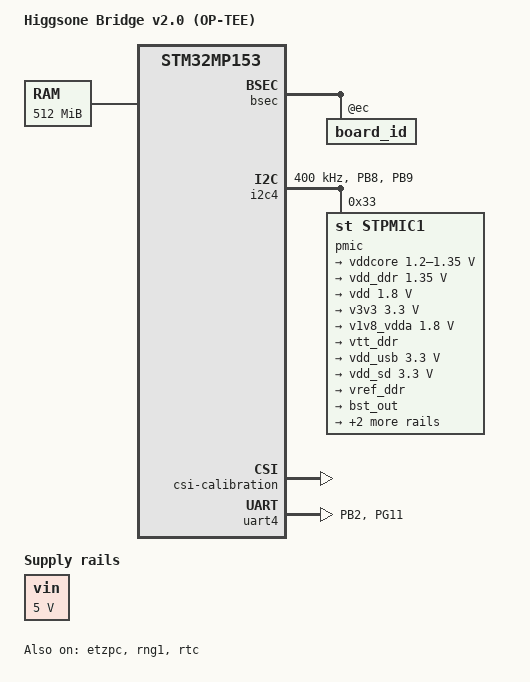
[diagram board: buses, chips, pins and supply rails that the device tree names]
/* SPDX-License-Identifier: (GPL-2.0+ OR BSD-3-Clause) */
/*
 * Copyright (C) STMicroelectronics 2022 - All Rights Reserved
 * Author: STM32CubeMX code generation for STMicroelectronics.
 */

/* For more information on Device Tree configuration, please refer to
 * https://wiki.st.com/stm32mpu/wiki/Category:Device_tree_configuration
 */

/dts-v1/;
#include <dt-bindings/pinctrl/stm32-pinfunc.h>
#include <dt-bindings/clock/stm32mp1-clksrc.h>
#include <dt-bindings/soc/stm32mp15-etzpc.h>

#include "stm32mp153.dtsi"
#include "stm32mp15xd.dtsi"
#include "stm32mp15xxab-pinctrl.dtsi"

/* USER CODE BEGIN includes */
#include <dt-bindings/power/stm32mp1-power.h>
/* USER CODE END includes */

/ {
        model = "Higgsone Bridge v2.0 (OP-TEE)";
        compatible = "st,stm32mp153d-bridge-cubemx-mx", "st,stm32mp153";

        memory@c0000000 {
                device_type = "memory";
                reg = <0xc0000000 0x20000000>;

                /* USER CODE BEGIN memory */
                /* USER CODE END memory */
        };

        /* USER CODE BEGIN root */
        vin: vin {
                compatible = "regulator-fixed";
                regulator-name = "vin";
                regulator-min-microvolt = <5000000>;
                regulator-max-microvolt = <5000000>;
                regulator-always-on;
        };

        aliases {
                serial0 = &uart4;
        };

        chosen {
                stdout-path = "serial0:115200n8";
        };
        /* USER CODE END root */

        clocks {
                /* USER CODE BEGIN clocks */
                /* USER CODE END clocks */

                clk_lse: clk-lse {
                        st,digbypass;

                        /* USER CODE BEGIN clk_lse */
                        /* USER CODE END clk_lse */
                };

                clk_hse: clk-hse {
                        st,bypass;

                        /* USER CODE BEGIN clk_hse */
                        /* USER CODE END clk_hse */
                };
        };

}; /*root*/

&clk_hse {
        st,bypass;
};

&clk_lse {
        st,digbypass;
};

&pinctrl {
        i2c4_pins_mx: i2c4_mx-0 {
                pins {
                        pinmux = <STM32_PINMUX('B', 8, AF6)>, /* I2C4_SCL */
                                         <STM32_PINMUX('B', 9, AF6)>; /* I2C4_SDA */
                        bias-disable;
                        drive-open-drain;
                        slew-rate = <0>;
                };
        };

        sdmmc1_pins_mx: sdmmc1_mx-0 {
                pins1 {
                        pinmux = <STM32_PINMUX('C', 8, AF12)>, /* SDMMC1_D0 */
                                         <STM32_PINMUX('C', 9, AF12)>, /* SDMMC1_D1 */
                                         <STM32_PINMUX('C', 11, AF12)>, /* SDMMC1_D3 */
                                         <STM32_PINMUX('D', 2, AF12)>, /* SDMMC1_CMD */
                                         <STM32_PINMUX('E', 6, AF8)>; /* SDMMC1_D2 */
                        bias-disable;
                        drive-push-pull;
                        slew-rate = <1>;
                };
                pins2 {
                        pinmux = <STM32_PINMUX('C', 12, AF12)>; /* SDMMC1_CK */
                        bias-disable;
                        drive-push-pull;
                        slew-rate = <3>;
                };
                pins3 {
                        pinmux = <STM32_PINMUX('E', 4, AF8)>; /* SDMMC1_CKIN */
                        bias-disable;
                };
        };

        sdmmc2_pins_mx: sdmmc2_mx-0 {
                pins1 {
                        pinmux = <STM32_PINMUX('A', 8, AF9)>, /* SDMMC2_D4 */
                                         <STM32_PINMUX('A', 9, AF10)>, /* SDMMC2_D5 */
                                         <STM32_PINMUX('B', 3, AF9)>, /* SDMMC2_D2 */
                                         <STM32_PINMUX('B', 4, AF9)>, /* SDMMC2_D3 */
                                         <STM32_PINMUX('B', 14, AF9)>, /* SDMMC2_D0 */
                                         <STM32_PINMUX('B', 15, AF9)>, /* SDMMC2_D1 */
                                         <STM32_PINMUX('C', 7, AF10)>, /* SDMMC2_D7 */
                                         <STM32_PINMUX('E', 5, AF9)>, /* SDMMC2_D6 */
                                         <STM32_PINMUX('G', 6, AF10)>; /* SDMMC2_CMD */
                        bias-disable;
                        drive-push-pull;
                        slew-rate = <1>;
                };
                pins2 {
                        pinmux = <STM32_PINMUX('E', 3, AF9)>; /* SDMMC2_CK */
                        bias-disable;
                        drive-push-pull;
                        slew-rate = <3>;
                };
        };

        uart4_pins_mx: uart4_mx-0 {
                pins1 {
                        pinmux = <STM32_PINMUX('B', 2, AF8)>; /* UART4_RX */
                        bias-disable;
                };
                pins2 {
                        pinmux = <STM32_PINMUX('G', 11, AF6)>; /* UART4_TX */
                        bias-disable;
                        drive-push-pull;
                        slew-rate = <0>;
                };
        };

        /* USER CODE BEGIN pinctrl */
        /* USER CODE END pinctrl */
};

&bsec{
        status = "okay";

        /* USER CODE BEGIN bsec */
        board_id: board_id@ec {
                reg = <0xec 0x4>;
                st,non-secure-otp;
        };
        /* USER CODE END bsec */
};

&etzpc{
        status = "okay";
        st,decprot = <
        /*"NS_R S_W" peripherals*/
        DECPROT(STM32MP1_ETZPC_DDRCTRL_ID, DECPROT_NS_R_S_W, DECPROT_LOCK)
        DECPROT(STM32MP1_ETZPC_DDRPHYC_ID, DECPROT_NS_R_S_W, DECPROT_LOCK)
        /*"Non Secured" peripherals*/
        DECPROT(STM32MP1_ETZPC_DMA1_ID, DECPROT_NS_RW, DECPROT_UNLOCK)
        DECPROT(STM32MP1_ETZPC_DMAMUX_ID, DECPROT_NS_RW, DECPROT_UNLOCK)
        DECPROT(STM32MP1_ETZPC_HASH1_ID, DECPROT_NS_RW, DECPROT_UNLOCK)
        DECPROT(STM32MP1_ETZPC_I2C1_ID, DECPROT_NS_RW, DECPROT_UNLOCK)
        DECPROT(STM32MP1_ETZPC_I2C4_ID, DECPROT_NS_RW, DECPROT_UNLOCK)
        DECPROT(STM32MP1_ETZPC_SDMMC3_ID, DECPROT_NS_RW, DECPROT_UNLOCK)
        DECPROT(STM32MP1_ETZPC_DLYBSD3_ID, DECPROT_NS_RW, DECPROT_UNLOCK)
        DECPROT(STM32MP1_ETZPC_UART4_ID, DECPROT_NS_RW, DECPROT_UNLOCK)
        DECPROT(STM32MP1_ETZPC_UART5_ID, DECPROT_NS_RW, DECPROT_UNLOCK)
        DECPROT(STM32MP1_ETZPC_UART7_ID, DECPROT_NS_RW, DECPROT_UNLOCK)
        DECPROT(STM32MP1_ETZPC_USART3_ID, DECPROT_NS_RW, DECPROT_UNLOCK)
        DECPROT(STM32MP1_ETZPC_OTG_ID, DECPROT_NS_RW, DECPROT_UNLOCK)
        /*"Secured" peripherals*/
        DECPROT(STM32MP1_ETZPC_STGENC_ID, DECPROT_S_RW, DECPROT_UNLOCK)
        DECPROT(STM32MP1_ETZPC_RNG1_ID, DECPROT_S_RW, DECPROT_UNLOCK)
        /*"Mcu Isolation" peripherals*/
        DECPROT(STM32MP1_ETZPC_DMA2_ID, DECPROT_MCU_ISOLATION, DECPROT_UNLOCK)
        DECPROT(STM32MP1_ETZPC_SPI1_ID, DECPROT_MCU_ISOLATION, DECPROT_UNLOCK)
        DECPROT(STM32MP1_ETZPC_SPI2_ID, DECPROT_MCU_ISOLATION, DECPROT_UNLOCK)
        DECPROT(STM32MP1_ETZPC_USART2_ID, DECPROT_MCU_ISOLATION, DECPROT_UNLOCK)
        DECPROT(STM32MP1_ETZPC_USART6_ID, DECPROT_MCU_ISOLATION, DECPROT_UNLOCK)

        /*Restriction: following IDs are not managed  - please to use User-Section if needed:
                  STM32MP1_ETZPC_SRAMx_ID  STM32MP1_ETZPC_RETRAM_ID  STM32MP1_ETZPC_BKPSRAM_ID*/

        /* USER CODE BEGIN etzpc_decprot */
                /*STM32CubeMX generates a basic and standard configuration for ETZPC.
                Additional device configurations can be added here if needed.
                "etzpc" node could be also overloaded in "addons" User-Section.*/
        /* USER CODE END etzpc_decprot */
        >;

        /* USER CODE BEGIN etzpc */
        /* USER CODE END etzpc */
};

&i2c4{
        compatible = "st,stm32mp15-i2c-non-secure";
        pinctrl-names = "default";
        pinctrl-0 = <&i2c4_pins_mx>;
        status = "okay";

        /* USER CODE BEGIN i2c4 */
        i2c-scl-rising-time-ns = <185>;
        i2c-scl-falling-time-ns = <20>;
        clock-frequency = <400000>;

        pmic: stpmic@33 {
                compatible = "st,stpmic1";
                reg = <0x33>;
                interrupt-controller;
                #interrupt-cells = <2>;
                status = "okay";

                regulators {
                        compatible = "st,stpmic1-regulators";
                        buck1-supply = <&vin>;
                        buck2-supply = <&vin>;
                        buck3-supply = <&vin>;
                        buck4-supply = <&vin>;
                        ldo2-supply = <&vin>;
                        ldo3-supply = <&vdd_ddr>;
                        ldo4-supply = <&vin>;
                        ldo5-supply = <&vin>;
                        vref_ddr-supply = <&vin>;
                        boost-supply = <&vin>;
                        pwr_sw1-supply = <&bst_out>;
                        pwr_sw2-supply = <&bst_out>;

                        vddcore: buck1 {
                                regulator-name = "vddcore";
                                regulator-min-microvolt = <1200000>;
                                regulator-max-microvolt = <1350000>;
                                regulator-always-on;
                                regulator-initial-mode = <0>;
                                regulator-over-current-protection;
                        };

                        vdd_ddr: buck2 {
                                regulator-name = "vdd_ddr";
                                regulator-min-microvolt = <1350000>;
                                regulator-max-microvolt = <1350000>;
                                regulator-always-on;
                                regulator-initial-mode = <0>;
                                regulator-over-current-protection;
                        };

                        vdd: buck3 {
                                regulator-name = "vdd";
                                regulator-min-microvolt = <1800000>;
                                regulator-max-microvolt = <1800000>;
                                regulator-always-on;
                                st,mask-reset;
                                regulator-initial-mode = <0>;
                                regulator-over-current-protection;
                        };

                        v3v3: buck4 {
                                regulator-name = "v3v3";
                                regulator-min-microvolt = <3300000>;
                                regulator-max-microvolt = <3300000>;
                                regulator-always-on;
                                regulator-over-current-protection;
                                regulator-initial-mode = <0>;
                        };

                        v1v8_vdda: ldo2 {
                                regulator-name = "v1v8_vdda";
                                regulator-min-microvolt = <1800000>;
                                regulator-max-microvolt = <1800000>;
                                regulator-always-on;
                        };

                        vtt_ddr: ldo3 {
                                regulator-name = "vtt_ddr";
                                // regulator-min-microvolt = <500000>;
                                // regulator-max-microvolt = <750000>;
                                regulator-always-on;
                                regulator-over-current-protection;
                        };

                        vdd_usb: ldo4 {
                                regulator-name = "vdd_usb";
                                regulator-min-microvolt = <3300000>;
                                regulator-max-microvolt = <3300000>;
                                regulator-always-on;
                        };

                        vdd_sd: ldo5 {
                                regulator-name = "vdd_sd";
                                regulator-min-microvolt = <3300000>;
                                regulator-max-microvolt = <3300000>;
                                regulator-boot-on;
                        };

                        vref_ddr: vref_ddr {
                                regulator-name = "vref_ddr";
                                regulator-always-on;
                        };

                        bst_out: boost {
                                regulator-name = "bst_out";
                        };

                        vbus_otg: pwr_sw1 {
                                regulator-name = "vbus_otg";
                        };

                        vbus_sw: pwr_sw2 {
                                regulator-name = "vbus_sw";
                                regulator-active-discharge = <1>;
                        };
                };
        };
        /* USER CODE END i2c4 */
};

// &iwdg2{
//      status = "okay";

//      /* USER CODE BEGIN iwdg2 */
//      /* USER CODE END iwdg2 */
// };

&osc_calibration {
	csi-calibration {
		status = "okay";
	};

	hsi-calibration {
		status = "okay";
	};
};

&pwr_regulators{
        /* USER CODE BEGIN pwr_regulators */
        system_suspend_supported_soc_modes = <
        STM32_PM_CSLEEP_RUN
        STM32_PM_CSTOP_ALLOW_LP_STOP
        STM32_PM_CSTOP_ALLOW_LPLV_STOP
    >;
    system_off_soc_mode = <STM32_PM_SHUTDOWN>;
        vdd-supply = <&vdd>;
        vdd_3v3_usbfs-supply = <&vdd_usb>;
        /* USER CODE END pwr_regulators */
};

&rcc{
        st,clksrc = <
                CLK_MPU_PLL1P
                CLK_AXI_PLL2P
                CLK_MCU_PLL3P
                CLK_PLL12_HSE
                CLK_PLL3_HSE
                CLK_PLL4_HSE
                CLK_RTC_LSE
                CLK_MCO1_LSE
                CLK_MCO2_DISABLED
        >;
        st,clkdiv = <
                1               /*MPU*/
                0               /*AXI*/
                0               /*MCU*/
                1               /*APB1*/
                1               /*APB2*/
                1               /*APB3*/
                1               /*APB4*/
                2               /*APB5*/
                0               /*RTC*/
                0               /*MCO1*/
                0               /*MCO2*/
        >;
        st,pkcs = <
                CLK_CKPER_DISABLED
                CLK_ETH_DISABLED
                CLK_SDMMC12_PLL3R
                CLK_STGEN_HSE
                CLK_USBPHY_HSE
                CLK_SPI2S1_PLL4P
                CLK_SPI2S23_PLL4P
                CLK_SPI45_DISABLED
                CLK_SPI6_DISABLED
                CLK_I2C46_HSI
                CLK_SDMMC3_PLL3R
                CLK_USBO_USBPHY
                CLK_ADC_DISABLED
                CLK_CEC_DISABLED
                CLK_I2C12_PCLK1
                CLK_I2C35_DISABLED
                CLK_UART1_DISABLED
                CLK_UART24_HSI
                CLK_UART35_PCLK1
                CLK_UART6_PCLK2
                CLK_UART78_PCLK1
                CLK_SPDIF_DISABLED
                CLK_SAI1_DISABLED
                CLK_SAI2_DISABLED
                CLK_SAI3_DISABLED
                CLK_SAI4_DISABLED
                CLK_RNG1_CSI
                CLK_LPTIM1_DISABLED
                CLK_LPTIM23_DISABLED
                CLK_LPTIM45_DISABLED
        >;
        pll1:st,pll@0 {
                compatible = "st,stm32mp1-pll";
                reg = <0>;
                cfg = < 1 65 0 1 1 PQR(1,0,0) >;
                frac = < 0x1555 >;
        };
        pll2:st,pll@1 {
                compatible = "st,stm32mp1-pll";
                reg = <1>;
                cfg = < 2 65 1 1 0 PQR(1,0,1) >;
                frac = < 0x1400 >;
        };
        pll3:st,pll@2 {
                compatible = "st,stm32mp1-pll";
                reg = <2>;
                cfg = < 1 49 2 1 2 PQR(1,0,1) >;
        };
        pll4:st,pll@3 {
                compatible = "st,stm32mp1-pll";
                reg = <3>;
                cfg = < 1 33 2 1 7 PQR(1,0,0) >;
        };
};

&rng1{
        status = "okay";

        /* USER CODE BEGIN rng1 */
        /* USER CODE END rng1 */
};

&rtc{
        status = "okay";

        /* USER CODE BEGIN rtc */
        /* USER CODE END rtc */
};

&uart4{
        pinctrl-names = "default";
        pinctrl-0 = <&uart4_pins_mx>;
        status = "okay";
};

/* USER CODE BEGIN addons */
&cpu0{
        cpu-supply = <&vddcore>;
};

&cpu1{
        cpu-supply = <&vddcore>;
};
/* USER CODE END addons */
